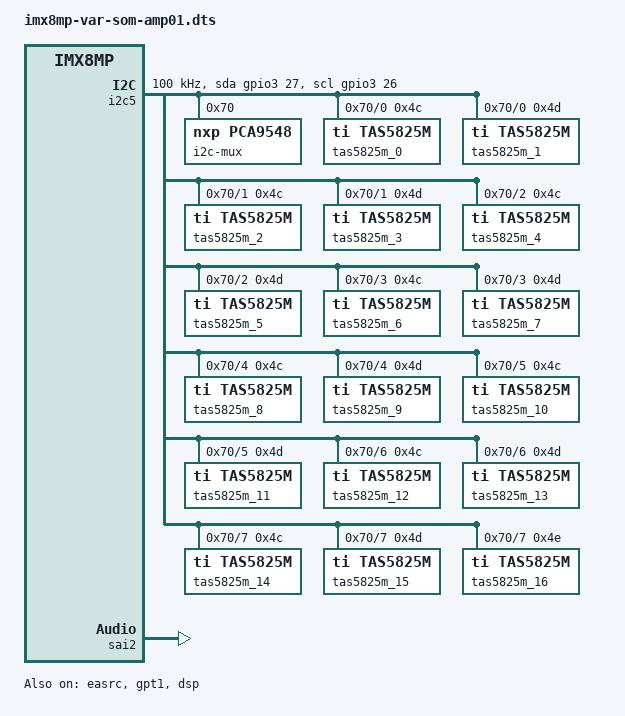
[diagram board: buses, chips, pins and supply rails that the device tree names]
/*
 * Copyright AxisB Inc 2024 - 2025
 * All rights reserved
 *
 * Device tree for 16-channel TAS5825M amplifier array
 * - 8 TAS5825M amplifiers on SAI2-TX_DATA0 (channels 0-15)
 * - 8 TAS5825M amplifiers on SAI2-TX_DATA1 (channels 16-31)
 * - Each amplifier handles 2 channels (stereo pair) from TDM16 stream
 */

#include "imx8mp-var-som-symphony.dts"

/* Enable easrc */
&easrc {
	fsl,asrc-rate  = <48000>;
	status = "okay";
};

/* AVB HW timer */
&gpt1 {
	compatible = "fsl,avb-gpt";
	timer-channel = <1>; /* Use output compare channel 1*/
	rec-channel = <1 0 1>; // capture channel, eth port, ENET TC id
	prescale = <1>;
	domain = <0>;

	clocks = <&clk IMX8MP_CLK_GPT1_ROOT>,
		 <&clk IMX8MP_CLK_GPT1_ROOT>,
		 <&clk IMX8MP_AUDIO_PLL1>;
	clock-names = "ipg", "per", "audio_pll";

	/* Make the GPT clk root derive from the audio PLL*/
	assigned-clocks = <&clk IMX8MP_CLK_GPT1>;
	assigned-clock-parents = <&clk IMX8MP_AUDIO_PLL1_OUT>;
	assigned-clock-rates = <0>;

	gpt1_capin1_sel = <&gpr 0x4 2>;

	status = "okay";
};

&iomuxc {
	pinctrl_i2c5: i2c5grp {
		fsl,pins = <
			MX8MP_IOMUXC_HDMI_DDC_SCL__I2C5_SCL				0x400001c6
			MX8MP_IOMUXC_HDMI_DDC_SDA__I2C5_SDA				0x400001c6
		>;
	};

	pinctrl_sai2: sai2grp {
		fsl,pins = <
			MX8MP_IOMUXC_SAI2_TXFS__AUDIOMIX_SAI2_TX_SYNC			0xd6
			MX8MP_IOMUXC_SAI2_TXC__AUDIOMIX_SAI2_TX_BCLK			0xd6
			MX8MP_IOMUXC_SAI2_TXD0__AUDIOMIX_SAI2_TX_DATA00			0x116
			MX8MP_IOMUXC_SAI2_RXD0__AUDIOMIX_SAI2_TX_DATA01			0x116
			MX8MP_IOMUXC_SAI2_MCLK__AUDIOMIX_SAI2_MCLK			    0xd6
		>;
	};
};

/* ------------------------------------------------------------------------ */
/*   Enable I2C5 for TAS5825M amplifiers via PCA9548 I2C Multiplexer      */
&i2c5 {
    status = "okay";
    pinctrl-names = "default";
    pinctrl-0 = <&pinctrl_i2c5>;
    clock-frequency = <100000>;  /* 100kHz for reliability */
    scl-gpios = <&gpio3 26 GPIO_ACTIVE_HIGH>;
    sda-gpios = <&gpio3 27 GPIO_ACTIVE_HIGH>;

    /* -------------------------------------------------------------------- */
    /* PCA9548 I2C Multiplexer - 8 channels, 2 TAS5825M per channel        */
    /* -------------------------------------------------------------------- */
    i2c-mux@70 {
        compatible = "nxp,pca9548";
        #address-cells = <1>;
        #size-cells = <0>;
        reg = <0x70>;

        /* ================================================================ */
        /* Channel 0: TAS5825M #0 and #1 (Channels 0-3, TX_DATA0)          */
        /* ================================================================ */
        i2c@0 {
            #address-cells = <1>;
            #size-cells = <0>;
            reg = <0>;

            /* TAS5825M #0: ADR to GND -> 0x4C */
            tas5825m_0: tas5825m@4c {
                compatible = "ti,tas5825m";
                reg = <0x4c>;
                #sound-dai-cells = <0>;
                status = "okay";
            };

            /* TAS5825M #1: ADR via 1K to GND -> 0x4D */
            tas5825m_1: tas5825m@4d {
                compatible = "ti,tas5825m";
                reg = <0x4d>;
                #sound-dai-cells = <0>;
                status = "okay";
            };
        };

        /* ================================================================ */
        /* Channel 1: TAS5825M #2 and #3 (Channels 4-7, TX_DATA0)          */
        /* ================================================================ */
        i2c@1 {
            #address-cells = <1>;
            #size-cells = <0>;
            reg = <1>;

            /* TAS5825M #2: ADR to GND -> 0x4C */
            tas5825m_2: tas5825m@4c {
                compatible = "ti,tas5825m";
                reg = <0x4c>;
                #sound-dai-cells = <0>;
                status = "okay";
            };

            /* TAS5825M #3: ADR via 1K to GND -> 0x4D */
            tas5825m_3: tas5825m@4d {
                compatible = "ti,tas5825m";
                reg = <0x4d>;
                #sound-dai-cells = <0>;
                status = "okay";
            };
        };

        /* ================================================================ */
        /* Channel 2: TAS5825M #4 and #5 (Channels 8-11, TX_DATA0)         */
        /* ================================================================ */
        i2c@2 {
            #address-cells = <1>;
            #size-cells = <0>;
            reg = <2>;

            /* TAS5825M #4: ADR to GND -> 0x4C */
            tas5825m_4: tas5825m@4c {
                compatible = "ti,tas5825m";
                reg = <0x4c>;
                #sound-dai-cells = <0>;
                status = "okay";
            };

            /* TAS5825M #5: ADR via 1K to GND -> 0x4D */
            tas5825m_5: tas5825m@4d {
                compatible = "ti,tas5825m";
                reg = <0x4d>;
                #sound-dai-cells = <0>;
                status = "okay";
            };
        };

        /* ================================================================ */
        /* Channel 3: TAS5825M #6 and #7 (Channels 12-15, TX_DATA0)        */
        /* ================================================================ */
        i2c@3 {
            #address-cells = <1>;
            #size-cells = <0>;
            reg = <3>;

            /* TAS5825M #6: ADR to GND -> 0x4C */
            tas5825m_6: tas5825m@4c {
                compatible = "ti,tas5825m";
                reg = <0x4c>;
                #sound-dai-cells = <0>;
                status = "okay";
            };

            /* TAS5825M #7: ADR via 1K to GND -> 0x4D */
            tas5825m_7: tas5825m@4d {
                compatible = "ti,tas5825m";
                reg = <0x4d>;
                #sound-dai-cells = <0>;
                status = "okay";
            };
        };

        /* ================================================================ */
        /* Channel 4: TAS5825M #8 and #9 (Channels 16-19, TX_DATA1)        */
        /* ================================================================ */
        i2c@4 {
            #address-cells = <1>;
            #size-cells = <0>;
            reg = <4>;

            /* TAS5825M #8: ADR to GND -> 0x4C */
            tas5825m_8: tas5825m@4c {
                compatible = "ti,tas5825m";
                reg = <0x4c>;
                #sound-dai-cells = <0>;
                status = "okay";
            };

            /* TAS5825M #9: ADR via 1K to GND -> 0x4D */
            tas5825m_9: tas5825m@4d {
                compatible = "ti,tas5825m";
                reg = <0x4d>;
                #sound-dai-cells = <0>;
                status = "okay";
            };
        };

        /* ================================================================ */
        /* Channel 5: TAS5825M #10 and #11 (Channels 20-23, TX_DATA1)      */
        /* ================================================================ */
        i2c@5 {
            #address-cells = <1>;
            #size-cells = <0>;
            reg = <5>;

            /* TAS5825M #10: ADR to GND -> 0x4C */
            tas5825m_10: tas5825m@4c {
                compatible = "ti,tas5825m";
                reg = <0x4c>;
                #sound-dai-cells = <0>;
                status = "okay";
            };

            /* TAS5825M #11: ADR via 1K to GND -> 0x4D */
            tas5825m_11: tas5825m@4d {
                compatible = "ti,tas5825m";
                reg = <0x4d>;
                #sound-dai-cells = <0>;
                status = "okay";
            };
        };

        /* ================================================================ */
        /* Channel 6: TAS5825M #12 and #13 (Channels 24-27, TX_DATA1)      */
        /* ================================================================ */
        i2c@6 {
            #address-cells = <1>;
            #size-cells = <0>;
            reg = <6>;

            /* TAS5825M #12: ADR to GND -> 0x4C */
            tas5825m_12: tas5825m@4c {
                compatible = "ti,tas5825m";
                reg = <0x4c>;
                #sound-dai-cells = <0>;
                status = "okay";
            };

            /* TAS5825M #13: ADR via 1K to GND -> 0x4D */
            tas5825m_13: tas5825m@4d {
                compatible = "ti,tas5825m";
                reg = <0x4d>;
                #sound-dai-cells = <0>;
                status = "okay";
            };
        };

        /* ================================================================ */
        /* Channel 7: TAS5825M #14 and #15 (Channels 28-31, TX_DATA1)      */
        /* ================================================================ */
        i2c@7 {
            #address-cells = <1>;
            #size-cells = <0>;
            reg = <7>;

            /* TAS5825M #14: ADR to GND -> 0x4C */
            tas5825m_14: tas5825m@4c {
                compatible = "ti,tas5825m";
                reg = <0x4c>;
                #sound-dai-cells = <0>;
                status = "okay";
            };

            /* TAS5825M #15: ADR via 1K to GND -> 0x4D */
            tas5825m_15: tas5825m@4d {
                compatible = "ti,tas5825m";
                reg = <0x4d>;
                #sound-dai-cells = <0>;
                status = "okay";
            };

            /* TAS5825M #16: ADR via 4.7K to GND -> 0x4E */
            tas5825m_16: tas5825m@4e {
                compatible = "ti,tas5825m";
                reg = <0x4e>;
                #sound-dai-cells = <0>;
                status = "okay";
            };
        };
    };
};

/* ------------------------------------------------------------------------ */
/*   Enable SAI2 with TDM16 on both TX_DATA0 and TX_DATA1                  */
&sai2 {
    status = "okay";
    #sound-dai-cells = <0>;
    pinctrl-names = "default";
    pinctrl-0 = <&pinctrl_sai2>;

    /* Audio clock for BCLK/FS generation - standard rate for TDM16 */
    assigned-clocks = <&clk IMX8MP_CLK_SAI2>;
    assigned-clock-parents = <&clk IMX8MP_AUDIO_PLL1_OUT>;
    assigned-clock-rates = <24576000>; /* Standard 24.576 MHz */
    clocks = <&audio_blk_ctrl IMX8MP_CLK_AUDIO_BLK_CTRL_SAI2_IPG>, <&clk IMX8MP_CLK_DUMMY>,
             <&audio_blk_ctrl IMX8MP_CLK_AUDIO_BLK_CTRL_SAI2_MCLK1>, <&clk IMX8MP_CLK_DUMMY>,
             <&clk IMX8MP_CLK_DUMMY>;
    clock-names = "bus", "mclk0", "mclk1", "mclk2", "mclk3";
    fsl,sai-mclk-direction-output;
    
    /* Dataline configuration for 32 channels via 2x TDM16:
     * - Type 0 = Default/TDM mode
     * - RX mask 0x1 = RX_DATA0
     * - TX mask 0x3 = TX_DATA0 and TX_DATA1 (both enabled for 2x TDM16)
     */
    fsl,dataline = <0 0x1 0x3>;
    
    /* Use MULTI-FIFO DMA for 32-channel operation (2x TDM16) */
    dmas = <&sdma2 2 25 0>, <&sdma2 3 25 0>; /* 25 = IMX_DMATYPE_MULTI_SAI */
    dma-names = "rx", "tx";
};

/* ------------------------------------------------------------------------ */
/*   Sound Cards - 16 individual cards, one per TAS5825M amplifier         */
/*   Each card handles a 2-channel stereo pair from the TDM16 stream       */
/ {
    /* -------------------------------------------------------------------- */
    /* Group 1: TX_DATA0 - Channels 0-15 (8 amplifiers)                    */
    /* -------------------------------------------------------------------- */
    
    /* TAS5825M #0: Channels 0-1 (TDM slots 0-1 on TX_DATA0) */
    sound-amp-0 {
        compatible = "simple-audio-card";
        simple-audio-card,name = "tas5825m-ch0-1";
        simple-audio-card,format = "dsp_a";
        simple-audio-card,bitclock-master = <&cpu_amp_0>;
        simple-audio-card,frame-master = <&cpu_amp_0>;
        status = "okay";

        cpu_amp_0: simple-audio-card,cpu {
            sound-dai = <&sai2>;
            dai-tdm-slot-num = <16>;         // 16 slots per TDM frame 
            dai-tdm-slot-width = <32>;       // 32 bits per slot 
            dai-tdm-slot-tx-mask = <0x0003>; // Slots 0-1: bits 0-1 set
        };

        simple-audio-card,codec {
            sound-dai = <&tas5825m_0>;
        };
    };

    /* TAS5825M #1: Channels 2-3 (TDM slots 2-3 on TX_DATA0) */
    /* sound-amp-1 { */
    /*     compatible = "simple-audio-card"; */
    /*     simple-audio-card,name = "tas5825m-ch2-3"; */
    /*     simple-audio-card,format = "dsp_a"; */
    /*     simple-audio-card,bitclock-master = <&cpu_amp_1>; */
    /*     simple-audio-card,frame-master = <&cpu_amp_1>; */
    /*     status = "okay"; */
    /**/
    /*     cpu_amp_1: simple-audio-card,cpu { */
    /*         sound-dai = <&sai2>; */
    /*         dai-tdm-slot-num = <32>; */
    /*         dai-tdm-slot-width = <32>; */
    /*         dai-tdm-slot-tx-mask = <0x0000000C>; /* Slots 2-3: bits 2-3 set */ 
    /*     }; */
    /**/
    /*     simple-audio-card,codec { */
    /*         sound-dai = <&tas5825m_1>; */
    /*     }; */
    /* }; */

    /* TAS5825M #2: Channels 4-5 (TDM slots 4-5 on TX_DATA0) */
    /* sound-amp-2 { */
    /*     compatible = "simple-audio-card"; */
    /*     simple-audio-card,name = "tas5825m-ch4-5"; */
    /*     simple-audio-card,format = "dsp_a"; */
    /*     simple-audio-card,bitclock-master = <&cpu_amp_2>; */
    /*     simple-audio-card,frame-master = <&cpu_amp_2>; */
    /*     status = "okay"; */
    /**/
    /*     cpu_amp_2: simple-audio-card,cpu { */
    /*         sound-dai = <&sai2>; */
    /*         dai-tdm-slot-num = <32>; */
    /*         dai-tdm-slot-width = <32>; */
    /*         dai-tdm-slot-tx-mask = <0x00000030>; /* Slots 4-5: bits 4-5 set */ 
    /*     }; */
    /**/
    /*     simple-audio-card,codec { */
    /*         sound-dai = <&tas5825m_2>; */
    /*     }; */
    /* }; */

    /* TAS5825M #3: Channels 6-7 (TDM slots 6-7 on TX_DATA0) */
    /* sound-amp-3 { */
    /*     compatible = "simple-audio-card"; */
    /*     simple-audio-card,name = "tas5825m-ch6-7"; */
    /*     simple-audio-card,format = "dsp_a"; */
    /*     simple-audio-card,bitclock-master = <&cpu_amp_3>; */
    /*     simple-audio-card,frame-master = <&cpu_amp_3>; */
    /*     status = "okay"; */
    /**/
    /*     cpu_amp_3: simple-audio-card,cpu { */
    /*         sound-dai = <&sai2>; */
    /*         dai-tdm-slot-num = <32>; */
    /*         dai-tdm-slot-width = <32>; */
    /*         dai-tdm-slot-tx-mask = <0x000000C0>; /* Slots 6-7: bits 6-7 set */ 
    /*     }; */
    /**/
    /*     simple-audio-card,codec { */
    /*         sound-dai = <&tas5825m_3>; */
    /*     }; */
    /* }; */

    /* TAS5825M #4: Channels 8-9 (TDM slots 8-9 on TX_DATA0) */
    /* sound-amp-4 { */
    /*     compatible = "simple-audio-card"; */
    /*     simple-audio-card,name = "tas5825m-ch8-9"; */
    /*     simple-audio-card,format = "dsp_a"; */
    /*     simple-audio-card,bitclock-master = <&cpu_amp_4>; */
    /*     simple-audio-card,frame-master = <&cpu_amp_4>; */
    /*     status = "okay"; */
    /**/
    /*     cpu_amp_4: simple-audio-card,cpu { */
    /*         sound-dai = <&sai2>; */
    /*         dai-tdm-slot-num = <32>; */
    /*         dai-tdm-slot-width = <32>; */
    /*         dai-tdm-slot-tx-mask = <0x00000300>; /* Slots 8-9: bits 8-9 set */ 
    /*     }; */
    /**/
    /*     simple-audio-card,codec { */
    /*         sound-dai = <&tas5825m_4>; */
    /*     }; */
    /* }; */

    /* TAS5825M #5: Channels 10-11 (TDM slots 10-11 on TX_DATA0) */
    /* sound-amp-5 { */
    /*     compatible = "simple-audio-card"; */
    /*     simple-audio-card,name = "tas5825m-ch10-11"; */
    /*     simple-audio-card,format = "dsp_a"; */
    /*     simple-audio-card,bitclock-master = <&cpu_amp_5>; */
    /*     simple-audio-card,frame-master = <&cpu_amp_5>; */
    /*     status = "okay"; */
    /**/
    /*     cpu_amp_5: simple-audio-card,cpu { */
    /*         sound-dai = <&sai2>; */
    /*         dai-tdm-slot-num = <32>; */
    /*         dai-tdm-slot-width = <32>; */
    /*         dai-tdm-slot-tx-mask = <0x00000C00>; /* Slots 10-11: bits 10-11 set */ 
    /*     }; */
    /**/
    /*     simple-audio-card,codec { */
    /*         sound-dai = <&tas5825m_5>; */
    /*     }; */
    /* }; */

    /* TAS5825M #6: Channels 12-13 (TDM slots 12-13 on TX_DATA0) */
    /* sound-amp-6 { */
    /*     compatible = "simple-audio-card"; */
    /*     simple-audio-card,name = "tas5825m-ch12-13"; */
    /*     simple-audio-card,format = "dsp_a"; */
    /*     simple-audio-card,bitclock-master = <&cpu_amp_6>; */
    /*     simple-audio-card,frame-master = <&cpu_amp_6>; */
    /*     status = "okay"; */
    /**/
    /*     cpu_amp_6: simple-audio-card,cpu { */
    /*         sound-dai = <&sai2>; */
    /*         dai-tdm-slot-num = <32>; */
    /*         dai-tdm-slot-width = <32>; */
    /*         dai-tdm-slot-tx-mask = <0x00003000>; /* Slots 12-13: bits 12-13 set */ 
    /*     }; */
    /**/
    /*     simple-audio-card,codec { */
    /*         sound-dai = <&tas5825m_6>; */
    /*     }; */
    /* }; */

    /* TAS5825M #7: Channels 14-15 (TDM slots 14-15 on TX_DATA0) */
    /* sound-amp-7 { */
    /*     compatible = "simple-audio-card"; */
    /*     simple-audio-card,name = "tas5825m-ch14-15"; */
    /*     simple-audio-card,format = "dsp_a"; */
    /*     simple-audio-card,bitclock-master = <&cpu_amp_7>; */
    /*     simple-audio-card,frame-master = <&cpu_amp_7>; */
    /*     status = "okay"; */
    /**/
    /*     cpu_amp_7: simple-audio-card,cpu { */
    /*         sound-dai = <&sai2>; */
    /*         dai-tdm-slot-num = <32>; */
    /*         dai-tdm-slot-width = <32>; */
    /*         dai-tdm-slot-tx-mask = <0x0000C000>; /* Slots 14-15: bits 14-15 set */ 
    /*     }; */
    /**/
    /*     simple-audio-card,codec { */
    /*         sound-dai = <&tas5825m_7>; */
    /*     }; */
    /* }; */

    /* -------------------------------------------------------------------- */
    /* Group 2: TX_DATA1 - Channels 16-31 (8 amplifiers)                   */
    /* Note: These use the same slot numbers (0-15) but on TX_DATA1        */
    /* The dataline configuration (fsl,dataline = <0 0x1 0x3>) ensures     */
    /* they are routed to the second physical data line                    */
    /* -------------------------------------------------------------------- */
    
    /* TAS5825M #8: Channels 16-17 (TDM slots 0-1 on TX_DATA1) */
    /* sound-amp-8 { */
    /*     compatible = "simple-audio-card"; */
    /*     simple-audio-card,name = "tas5825m-ch16-17"; */
    /*     simple-audio-card,format = "dsp_a"; */
    /*     simple-audio-card,bitclock-master = <&cpu_amp_8>; */
    /*     simple-audio-card,frame-master = <&cpu_amp_8>; */
    /*     status = "okay"; */
    /**/
    /*     cpu_amp_8: simple-audio-card,cpu { */
    /*         sound-dai = <&sai2>; */
    /*         dai-tdm-slot-num = <32>; */
    /*         dai-tdm-slot-width = <32>; */
    /*         dai-tdm-slot-tx-mask = <0x00030000>; /* Slots 0-1 on TX_DATA1 */ 
    /*     }; */
    /**/
    /*     simple-audio-card,codec { */
    /*         sound-dai = <&tas5825m_8>; */
    /*     }; */
    /* }; */

    /* TAS5825M #9: Channels 18-19 (TDM slots 2-3 on TX_DATA1) */
    /* sound-amp-9 { */
    /*     compatible = "simple-audio-card"; */
    /*     simple-audio-card,name = "tas5825m-ch18-19"; */
    /*     simple-audio-card,format = "dsp_a"; */
    /*     simple-audio-card,bitclock-master = <&cpu_amp_9>; */
    /*     simple-audio-card,frame-master = <&cpu_amp_9>; */
    /*     status = "okay"; */
    /**/
    /*     cpu_amp_9: simple-audio-card,cpu { */
    /*         sound-dai = <&sai2>; */
    /*         dai-tdm-slot-num = <32>; */
    /*         dai-tdm-slot-width = <32>; */
    /*         dai-tdm-slot-tx-mask = <0x000C0000>; /* Slots 2-3 on TX_DATA1 */ 
    /*     }; */
    /**/
    /*     simple-audio-card,codec { */
    /*         sound-dai = <&tas5825m_9>; */
    /*     }; */
    /* }; */

    /* TAS5825M #10: Channels 20-21 (TDM slots 4-5 on TX_DATA1) */
    /* sound-amp-10 { */
    /*     compatible = "simple-audio-card"; */
    /*     simple-audio-card,name = "tas5825m-ch20-21"; */
    /*     simple-audio-card,format = "dsp_a"; */
    /*     simple-audio-card,bitclock-master = <&cpu_amp_10>; */
    /*     simple-audio-card,frame-master = <&cpu_amp_10>; */
    /*     status = "okay"; */
    /**/
    /*     cpu_amp_10: simple-audio-card,cpu { */
    /*         sound-dai = <&sai2>; */
    /*         dai-tdm-slot-num = <32>; */
    /*         dai-tdm-slot-width = <32>; */
    /*         dai-tdm-slot-tx-mask = <0x00300000>; /* Slots 4-5 on TX_DATA1 */ 
    /*     }; */
    /**/
    /*     simple-audio-card,codec { */
    /*         sound-dai = <&tas5825m_10>; */
    /*     }; */
    /* }; */

    /* TAS5825M #11: Channels 22-23 (TDM slots 6-7 on TX_DATA1) */
    /* sound-amp-11 { */
    /*     compatible = "simple-audio-card"; */
    /*     simple-audio-card,name = "tas5825m-ch22-23"; */
    /*     simple-audio-card,format = "dsp_a"; */
    /*     simple-audio-card,bitclock-master = <&cpu_amp_11>; */
    /*     simple-audio-card,frame-master = <&cpu_amp_11>; */
    /*     status = "okay"; */
    /**/
    /*     cpu_amp_11: simple-audio-card,cpu { */
    /*         sound-dai = <&sai2>; */
    /*         dai-tdm-slot-num = <32>; */
    /*         dai-tdm-slot-width = <32>; */
    /*         dai-tdm-slot-tx-mask = <0x00C00000>; /* Slots 6-7 on TX_DATA1 */ 
    /*     }; */
    /**/
    /*     simple-audio-card,codec { */
    /*         sound-dai = <&tas5825m_11>; */
    /*     }; */
    /* }; */

    /* TAS5825M #12: Channels 24-25 (TDM slots 8-9 on TX_DATA1) */
    /* sound-amp-12 { */
    /*     compatible = "simple-audio-card"; */
    /*     simple-audio-card,name = "tas5825m-ch24-25"; */
    /*     simple-audio-card,format = "dsp_a"; */
    /*     simple-audio-card,bitclock-master = <&cpu_amp_12>; */
    /*     simple-audio-card,frame-master = <&cpu_amp_12>; */
    /*     status = "okay"; */
    /**/
    /*     cpu_amp_12: simple-audio-card,cpu { */
    /*         sound-dai = <&sai2>; */
    /*         dai-tdm-slot-num = <32>; */
    /*         dai-tdm-slot-width = <32>; */
    /*         dai-tdm-slot-tx-mask = <0x03000000>; /* Slots 8-9 on TX_DATA1 */ 
    /*     }; */
    /**/
    /*     simple-audio-card,codec { */
    /*         sound-dai = <&tas5825m_12>; */
    /*     }; */
    /* }; */

    /* TAS5825M #13: Channels 26-27 (TDM slots 10-11 on TX_DATA1) */
    /* sound-amp-13 { */
    /*     compatible = "simple-audio-card"; */
    /*     simple-audio-card,name = "tas5825m-ch26-27"; */
    /*     simple-audio-card,format = "dsp_a"; */
    /*     simple-audio-card,bitclock-master = <&cpu_amp_13>; */
    /*     simple-audio-card,frame-master = <&cpu_amp_13>; */
    /*     status = "okay"; */
    /**/
    /*     cpu_amp_13: simple-audio-card,cpu { */
    /*         sound-dai = <&sai2>; */
    /*         dai-tdm-slot-num = <32>; */
    /*         dai-tdm-slot-width = <32>; */
    /*         dai-tdm-slot-tx-mask = <0x0C000000>; /* Slots 10-11 on TX_DATA1 */ 
    /*     }; */
    /**/
    /*     simple-audio-card,codec { */
    /*         sound-dai = <&tas5825m_13>; */
    /*     }; */
    /* }; */

    /* TAS5825M #14: Channels 28-29 (TDM slots 12-13 on TX_DATA1) */
    /* sound-amp-14 { */
    /*     compatible = "simple-audio-card"; */
    /*     simple-audio-card,name = "tas5825m-ch28-29"; */
    /*     simple-audio-card,format = "dsp_a"; */
    /*     simple-audio-card,bitclock-master = <&cpu_amp_14>; */
    /*     simple-audio-card,frame-master = <&cpu_amp_14>; */
    /*     status = "okay"; */
    /**/
    /*     cpu_amp_14: simple-audio-card,cpu { */
    /*         sound-dai = <&sai2>; */
    /*         dai-tdm-slot-num = <32>; */
    /*         dai-tdm-slot-width = <32>; */
    /*         dai-tdm-slot-tx-mask = <0x30000000>; /* Slots 12-13 on TX_DATA1 */ 
    /*     }; */
    /**/
    /*     simple-audio-card,codec { */
    /*         sound-dai = <&tas5825m_14>; */
    /*     }; */
    /* }; */

    /* TAS5825M #15: Channels 30-31 (TDM slots 14-15 on TX_DATA1) */
    /* sound-amp-15 { */
    /*     compatible = "simple-audio-card"; */
    /*     simple-audio-card,name = "tas5825m-ch30-31"; */
    /*     simple-audio-card,format = "dsp_a"; */
    /*     simple-audio-card,bitclock-master = <&cpu_amp_15>; */
    /*     simple-audio-card,frame-master = <&cpu_amp_15>; */
    /*     status = "okay"; */
    /**/
    /*     cpu_amp_15: simple-audio-card,cpu { */
    /*         sound-dai = <&sai2>; */
    /*         dai-tdm-slot-num = <32>; */
    /*         dai-tdm-slot-width = <32>; */
    /*         dai-tdm-slot-tx-mask = <0xC0000000>; /* Slots 14-15 on TX_DATA1 */ 
    /*     }; */
    /**/
    /*     simple-audio-card,codec { */
    /*         sound-dai = <&tas5825m_15>; */
    /*     }; */
    /* }; */
};

&dsp {
	compatible = "fsl,imx8mp-hifi4";
	reg = <0x0 0x3B6E8000 0x0 0x88000>;
	pinctrl-names = "default";
	pinctrl-0 = <&pinctrl_uart4>;
	clocks = <&audio_blk_ctrl IMX8MP_CLK_AUDIO_BLK_CTRL_OCRAMA_IPG>,
			 <&audio_blk_ctrl IMX8MP_CLK_AUDIO_BLK_CTRL_DSP_ROOT>,
			 <&audio_blk_ctrl IMX8MP_CLK_AUDIO_BLK_CTRL_DSPDBG_ROOT>,
			 <&audio_blk_ctrl IMX8MP_CLK_AUDIO_BLK_CTRL_SDMA3_ROOT>,
			 <&audio_blk_ctrl IMX8MP_CLK_AUDIO_BLK_CTRL_ASRC_IPG>,
			 <&clk IMX8MP_CLK_UART4_ROOT>;
	clock-names = "ocram", "core", "debug",
				  "per_clk1", "per_clk2", "per_clk3",
                  "per_clk5", "per_clk7";
	firmware-name = "imx/dsp/hifi4.bin";
	power-domains = <&audiomix_pd>;
	mbox-names = "tx0", "rx0", "rxdb0";
	mboxes = <&mu2 0 0>,
			 <&mu2 1 0>,
			 <&mu2 3 0>;
	memory-region = <&dsp_vdev0buffer>, <&dsp_vdev0vring0>,
					<&dsp_vdev0vring1>, <&dsp_reserved>;
	syscon = <&audio_blk_ctrl>;
	status = "okay";
};

/* Disable conflicting peripherals from symphony base */
&uart3 {
	status = "disabled";
};

&ecspi2 {
	status = "disabled";
};

&uart4 {
	status = "disabled";
};

&wm8904 {
	status = "disabled";
};

&pcie {
    status = "disabled";
};

&pcie_ep {
    status = "disabled";
};

&sound_hdmi {
	status = "disabled";
};

&aud2htx {
	status = "disabled";
};

&flexcan2 {
	status = "disabled";
};

&irqsteer_hdmi {
	status = "disabled";
};

&hdmi_blk_ctrl {
	status = "disabled";
};

&hdmi_pavi {
	status = "disabled";
};

&hdmi {
	status = "disabled";
};

&hdmiphy {
	status = "disabled";
};

/* MIPI-DSI */
&lcdif1 {
	status = "disabled";
};

/* LVDS */
&lcdif2 {
	status = "disabled";
};

/* HDMI */
&lcdif3 {
	status = "disabled";
};

&ldb {
	status = "disabled";
};

&ldb_phy {
	status = "disabled";
};

&mipi_dsi {
	status = "disabled";
};

/* Force FEC ethernet to 100 Mbps */
&fec {
	max-speed = <100>;
};

/* Also limit the PHY to 100 Mbps */
&ethphy1 {
	max-speed = <100>;
};
